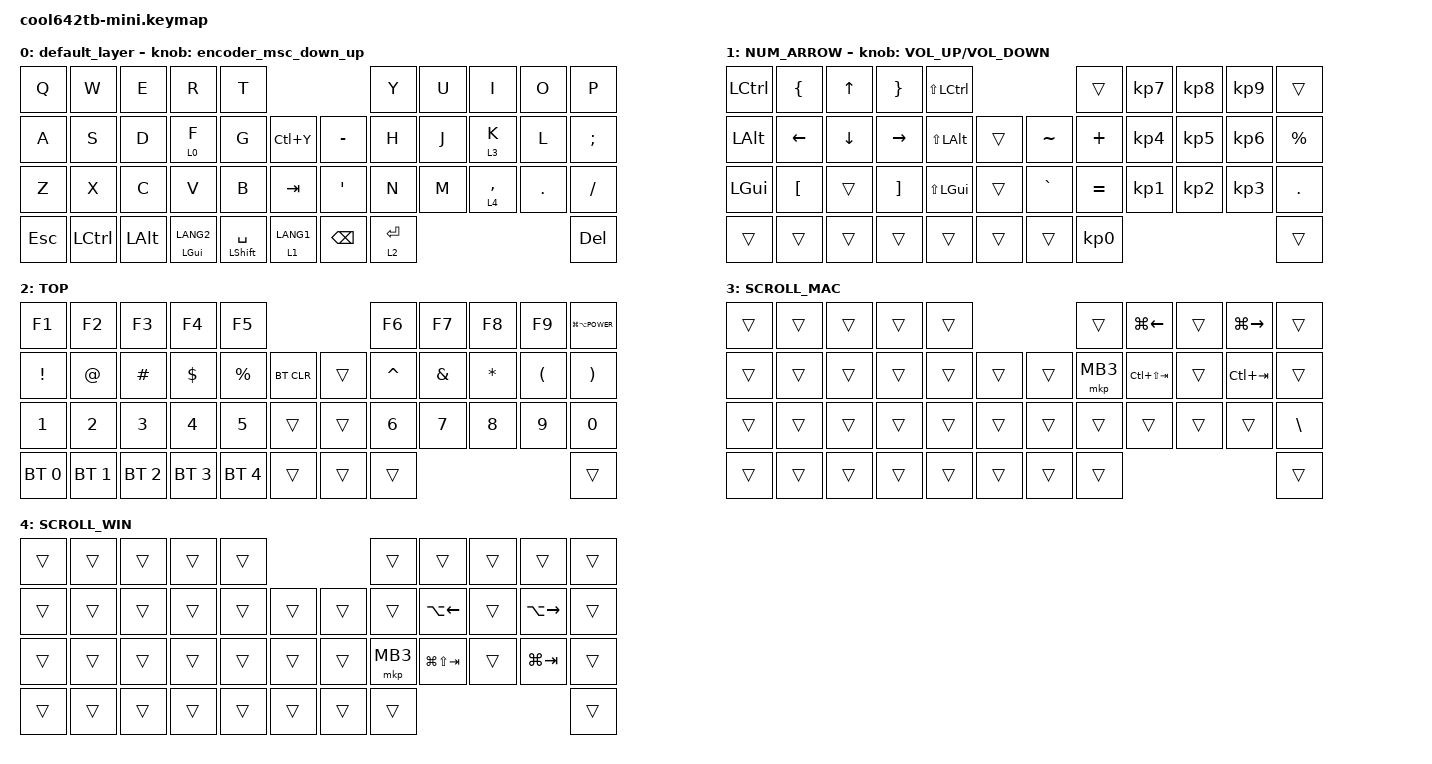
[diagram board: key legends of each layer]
#include <behaviors.dtsi>
#include <dt-bindings/zmk/bt.h>
#include <dt-bindings/zmk/keys.h>
#include <dt-bindings/zmk/pointing.h>

#define MOUSE 4
#define SCROLL 5
#define NUM 6
#define ZMK_POINTING_DEFAULT_SCRL_VAL 80

&mt {
    flavor = "balanced";
    quick-tap-ms = <0>;
};

/ {
    combos {
        compatible = "zmk,combos";

        Click {
            bindings = <&mkp MB1>;
            key-positions = <18 19>;
        };

        Right_Cilck {
            bindings = <&mkp MB2>;
            key-positions = <19 20>;
        };

        Space {
            bindings = <&kp SPACE>;
            key-positions = <37 36>;
        };
    };

    behaviors {
        encoder_msc_down_up: encoder_msc_down_up {
            compatible = "zmk,behavior-sensor-rotate";
            label = "ENCODER_MSC_DOWN_UP";
            #sensor-binding-cells = <0>;
            bindings = <&msc SCRL_UP>, <&msc SCRL_DOWN>;

            tap-ms = <20>;
        };
    };

    keymap {
        compatible = "zmk,keymap";

        default_layer {
            bindings = <
&kp Q       &kp W      &kp E         &kp R               &kp T                                                 &kp Y        &kp U  &kp I        &kp O    &kp P
&kp A       &kp S      &kp D         &lt 0 F             &kp G                 &kp LC(Y)        &kp MINUS      &kp H        &kp J  &lt 3 K      &kp L    &kp SEMICOLON
&kp Z       &kp X      &kp C         &kp V               &kp B                 &kp TAB          &kp SQT        &kp N        &kp M  &lt 4 COMMA  &kp DOT  &kp SLASH
&kp ESCAPE  &kp LCTRL  &kp LEFT_ALT  &mt LEFT_GUI LANG2  &mt LEFT_SHIFT SPACE  &lt 1 LANG1      &kp BACKSPACE  &lt 2 ENTER                               &kp DELETE
            >;

            sensor-bindings = <&encoder_msc_down_up>;
        };

        NUM_ARROW {
            bindings = <
&kp LCTRL     &kp LEFT_BRACE    &kp UP_ARROW    &kp RBRC           &kp LS(LCTRL)                            &trans           &kp KP_NUMBER_7  &kp KP_NUMBER_8  &kp KP_NUMBER_9  &trans
&kp LEFT_ALT  &kp LEFT_ARROW    &kp DOWN_ARROW  &kp RIGHT_ARROW    &kp LS(LEFT_ALT)  &trans      &kp TILDE  &kp PLUS         &kp KP_NUMBER_4  &kp KP_NUMBER_5  &kp KP_NUMBER_6  &kp PERCENT
&kp LEFT_GUI  &kp LEFT_BRACKET  &trans          &kp RIGHT_BRACKET  &kp LS(LEFT_GUI)  &trans      &kp GRAVE  &kp EQUAL        &kp KP_NUMBER_1  &kp KP_NUMBER_2  &kp KP_NUMBER_3  &kp PERIOD
&trans        &trans            &trans          &trans             &trans            &trans      &trans     &kp KP_NUMBER_0                                                     &trans
            >;

            sensor-bindings = <&inc_dec_kp C_VOLUME_UP C_VOLUME_DOWN>;
        };

        TOP {
            bindings = <
&kp F1           &kp F2        &kp F3        &kp F4        &kp F5                                &kp F6        &kp F7         &kp F8        &kp F9                &kp LG(LA(C_POWER))
&kp EXCLAMATION  &kp AT_SIGN   &kp HASH      &kp DOLLAR    &kp PERCENT   &bt BT_CLR      &trans  &kp CARET     &kp AMPERSAND  &kp ASTERISK  &kp LEFT_PARENTHESIS  &kp RIGHT_PARENTHESIS
&kp NUMBER_1     &kp NUMBER_2  &kp NUMBER_3  &kp NUMBER_4  &kp N5        &trans          &trans  &kp NUMBER_6  &kp N7         &kp N8        &kp N9                &kp N0
&bt BT_SEL 0     &bt BT_SEL 1  &bt BT_SEL 2  &bt BT_SEL 3  &bt BT_SEL 4  &trans          &trans  &trans                                                           &trans
            >;
        };

        SCROLL_MAC {
            bindings = <
&trans  &trans  &trans  &trans  &trans                      &trans    &kp LG(LEFT_ARROW)  &trans  &kp LG(RIGHT_ARROW)  &trans
&trans  &trans  &trans  &trans  &trans  &trans      &trans  &mkp MB3  &kp LC(LS(TAB))     &trans  &kp LC(TAB)          &trans
&trans  &trans  &trans  &trans  &trans  &trans      &trans  &trans    &trans              &trans  &trans               &kp BACKSLASH
&trans  &trans  &trans  &trans  &trans  &trans      &trans  &trans                                                     &trans
            >;
        };

        SCROLL_WIN {
            bindings = <
&trans  &trans  &trans  &trans  &trans                      &trans    &trans              &trans  &trans               &trans
&trans  &trans  &trans  &trans  &trans  &trans      &trans  &trans    &kp LA(LEFT_ARROW)  &trans  &kp LA(RIGHT_ARROW)  &trans
&trans  &trans  &trans  &trans  &trans  &trans      &trans  &mkp MB3  &kp LG(LS(TAB))     &trans  &kp LG(TAB)          &trans
&trans  &trans  &trans  &trans  &trans  &trans      &trans  &trans                                                     &trans
            >;
        };
    };
};
